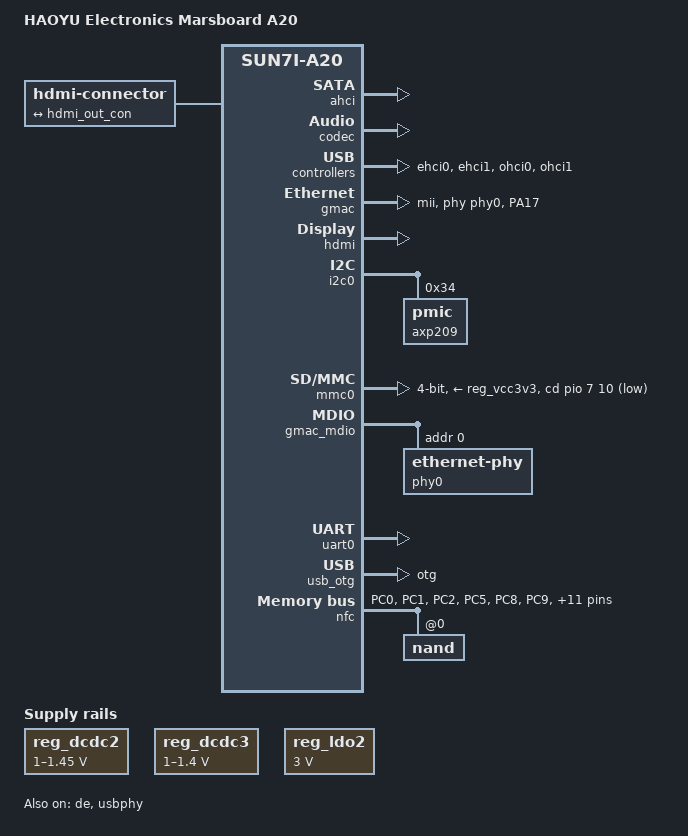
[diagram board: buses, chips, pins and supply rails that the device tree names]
// SPDX-License-Identifier: (GPL-2.0+ OR MIT)
/*
 * Copyright 2021 Conley Lee
 * Conley Lee <conleylee@foxmail.com>
 */

/dts-v1/;
#include "sun7i-a20.dtsi"
#include "sunxi-common-regulators.dtsi"

#include <dt-bindings/gpio/gpio.h>
#include <dt-bindings/interrupt-controller/irq.h>

/ {
	model = "HAOYU Electronics Marsboard A20";
	compatible = "haoyu,a20-marsboard", "allwinner,sun7i-a20";

	aliases {
		serial0 = &uart0;
	};

	chosen {
		stdout-path = "serial0:115200n8";
	};

	hdmi-connector {
		compatible = "hdmi-connector";
		type = "a";

		port {
			hdmi_con_in: endpoint {
				remote-endpoint = <&hdmi_out_con>;
			};
		};
	};
};

&ahci {
	target-supply = <&reg_ahci_5v>;
	status = "okay";
};

&codec {
	status = "okay";
};

&cpu0 {
	cpu-supply = <&reg_dcdc2>;
};

&de {
	status = "okay";
};

&ehci0 {
	status = "okay";
};

&ehci1 {
	status = "okay";
};

&gmac {
	pinctrl-names = "default";
	pinctrl-0 = <&gmac_mii_pins>, <&gmac_txerr>;
	phy-handle = <&phy0>;
	phy-mode = "mii";
	status = "okay";
};

&hdmi {
	status = "okay";
};

&hdmi_out {
	hdmi_out_con: endpoint {
		remote-endpoint = <&hdmi_con_in>;
	};
};

&i2c0 {
	status = "okay";

	axp209: pmic@34 {
		reg = <0x34>;
		interrupt-parent = <&nmi_intc>;
		interrupts = <0 IRQ_TYPE_LEVEL_LOW>;
	};
};

&mmc0 {
	vmmc-supply = <&reg_vcc3v3>;
	bus-width = <4>;
	cd-gpios = <&pio 7 10 GPIO_ACTIVE_LOW>; /* PH10 */
	status = "okay";
};

&gmac_mdio {
	phy0: ethernet-phy@0 {
		reg = <0>;
	};
};

&ohci0 {
	status = "okay";
};

&ohci1 {
	status = "okay";
};

&otg_sram {
	status = "okay";
};

&pio {
	gmac_txerr: gmac-txerr-pin {
		pins = "PA17";
		function = "gmac";
	};

	nand_pins_a: nand_base0@0 {
		pins = "PC0", "PC1", "PC2",
		"PC5", "PC8", "PC9", "PC10",
		"PC11", "PC12", "PC13", "PC14",
		"PC15", "PC16";
		function = "nand0";
		drive-strength = <10>;
	};

	nand_cs0_pins_a: nand_cs@0 {
		pins = "PC4";
		function = "nand0";
		drive-strength = <10>;
		bias-pull-up;
	};

	nand_cs1_pins_a: nand_cs@1 {
		pins = "PC3";
		function = "nand0";
		drive-strength = <10>;
		bias-pull-up;
	};

	nand_cs2_pins_a: nand_cs@2 {
		pins = "PC17";
		function = "nand0";
		drive-strength = <10>;
		bias-pull-up;
	};

	nand_cs3_pins_a: nand_cs@3 {
		pins = "PC18";
		function = "nand0";
		drive-strength = <10>;
		bias-pull-up;
	};

	nand_rb0_pins_a: nand_rb@0 {
		pins = "PC6";
		function = "nand0";
		drive-strength = <10>;
		bias-pull-up;
	};

	nand_rb1_pins_a: nand_rb@1 {
		pins = "PC7";
		function = "nand0";
		drive-strength = <10>;
		bias-pull-up;
	};

};

&reg_ahci_5v {
	status = "okay";
};

#include "axp209.dtsi"

&ac_power_supply {
	status = "okay";
};

&reg_dcdc2 {
	regulator-always-on;
	regulator-min-microvolt = <1000000>;
	regulator-max-microvolt = <1450000>;
	regulator-name = "vdd-cpu";
};

&reg_dcdc3 {
	regulator-always-on;
	regulator-min-microvolt = <1000000>;
	regulator-max-microvolt = <1400000>;
	regulator-name = "vdd-int-dll";
};

&reg_ldo1 {
	regulator-name = "vdd-rtc";
};

&reg_ldo2 {
	regulator-always-on;
	regulator-min-microvolt = <3000000>;
	regulator-max-microvolt = <3000000>;
	regulator-name = "avcc";
};

&reg_usb1_vbus {
	status = "okay";
};

&reg_usb2_vbus {
	status = "okay";
};

&uart0 {
	pinctrl-names = "default";
	pinctrl-0 = <&uart0_pb_pins>;
	status = "okay";
};

&usb_otg {
	dr_mode = "otg";
	status = "okay";
};

&usbphy {
	usb0_id_det-gpios = <&pio 7 4 (GPIO_ACTIVE_HIGH | GPIO_PULL_UP)>; /* PH4 */
	usb1_vbus-supply = <&reg_usb1_vbus>;
	usb2_vbus-supply = <&reg_usb2_vbus>;
	status = "okay";
};

&nfc {
	pinctrl-names = "default";
	pinctrl-0 = <&nand_pins_a>, <&nand_cs0_pins_a>, <&nand_rb0_pins_a>, <&nand_cs1_pins_a>, <&nand_rb1_pins_a>;
	status = "okay";

	nand@0 {
		#address-cells = <2>;
		#size-cells = <2>;
		reg = <0>;
		allwinner,rb = <0>;
		nand-ecc-mode = "hw";
		nand-on-flash-bbt;
	};
};
